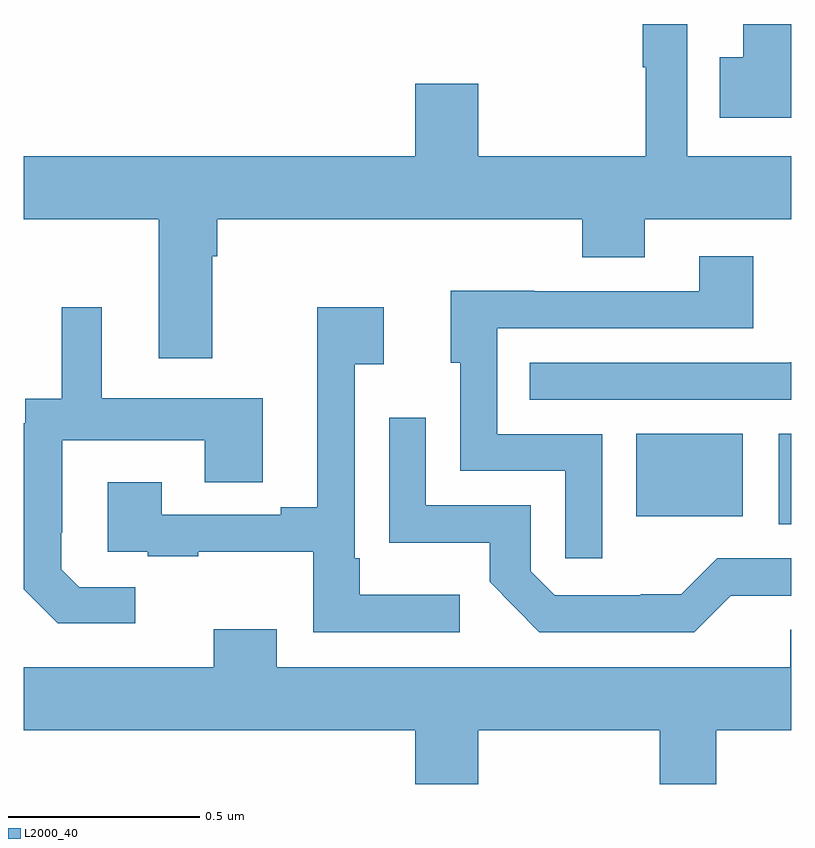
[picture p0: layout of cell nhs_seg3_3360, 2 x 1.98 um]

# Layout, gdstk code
import gdstk
lib = gdstk.Library(unit=1e-6, precision=1e-09)
def R(c, l, rs):  # rectangles x0, y0, x1, y1
    for r in rs: c.add(gdstk.rectangle(r[:2], r[2:], *l))
def P(c, l, *ps):  # polygons
    for p in ps: c.add(gdstk.Polygon(p, *l))
L2000_40 = (2000, 40)

nhs_seg3_3360 = lib.new_cell('nhs_seg3_3360')
R(nhs_seg3_3360, L2000_40, [(153.968,744.077,154,744.313), (153.596,744.098,153.874,744.313)])
P(nhs_seg3_3360, L2000_40, [(152.491,744.776),(152.504,744.776),(152.504,744.872),(153.455,744.872),(153.455,744.773),(153.619,744.773),(153.619,744.872),(154,744.872),(154,745.036),(153.729,745.036),(153.729,745.381),(153.613,745.381),(153.613,745.268),(153.621,745.268),(153.621,745.036),(153.184,745.036),(153.184,745.225),(153.02,745.225),(153.02,745.036),(152,745.036),(152,744.872),(152.351,744.872),(152.351,744.51),(152.491,744.51)],
  [(154,745.381),(153.875,745.381),(153.875,745.294),(153.814,745.294),(153.814,745.136),(154,745.136)],
  [(153.507,744.312),(153.234,744.312),(153.234,744.588),(153.901,744.588),(153.901,744.775),(153.761,744.775),(153.761,744.684),(153.331,744.684),(153.331,744.686),(153.113,744.686),(153.113,744.498),(153.138,744.498),(153.138,744.216),(153.411,744.216),(153.411,743.988),(153.507,743.988)],
  [(153.136,743.893),(152.875,743.893),(152.875,743.989),(152.862,743.989),(152.862,744.494),(152.938,744.494),(152.938,744.643),(152.765,744.643),(152.765,744.121),(152.669,744.121),(152.669,744.102),(152.359,744.102),(152.359,744.187),(152.219,744.187),(152.219,744.006),(152.323,744.006),(152.323,743.994),(152.455,743.994),(152.455,744.005),(152.754,744.005),(152.754,743.796),(153.136,743.796)],
  [(152.29,743.913),(152.145,743.913),(152.098,743.96),(152.098,744.055),(152.1,744.055),(152.1,744.296),(152.471,744.296),(152.471,744.187),(152.623,744.187),(152.623,744.406),(152.203,744.406),(152.203,744.643),(152.099,744.643),(152.099,744.404),(152.004,744.404),(152.004,744.34),(152,744.34),(152,743.908),(152.089,743.819),(152.29,743.819)],
  [(154,744.499),(153.997,744.499),(153.997,744.498),(153.319,744.498),(153.319,744.402),(154,744.402)],
  [(153.842,743.891),(154,743.891),(154,743.988),(153.807,743.988),(153.713,743.894),(153.608,743.894),(153.608,743.892),(153.384,743.892),(153.321,743.955),(153.321,744.126),(153.048,744.126),(153.048,744.355),(152.952,744.355),(152.952,744.029),(153.214,744.029),(153.214,743.927),(153.344,743.796),(153.747,743.796)],
  [(153.184,743.54),(153.658,743.54),(153.658,743.4),(153.805,743.4),(153.805,743.54),(154,743.54),(154,743.802),(153.998,743.802),(153.998,743.704),(152.659,743.704),(152.659,743.803),(152.495,743.803),(152.495,743.704),(152,743.704),(152,743.54),(153.02,743.54),(153.02,743.4),(153.184,743.4)])

lib.write_gds('nhs_seg3_3360.gds')
